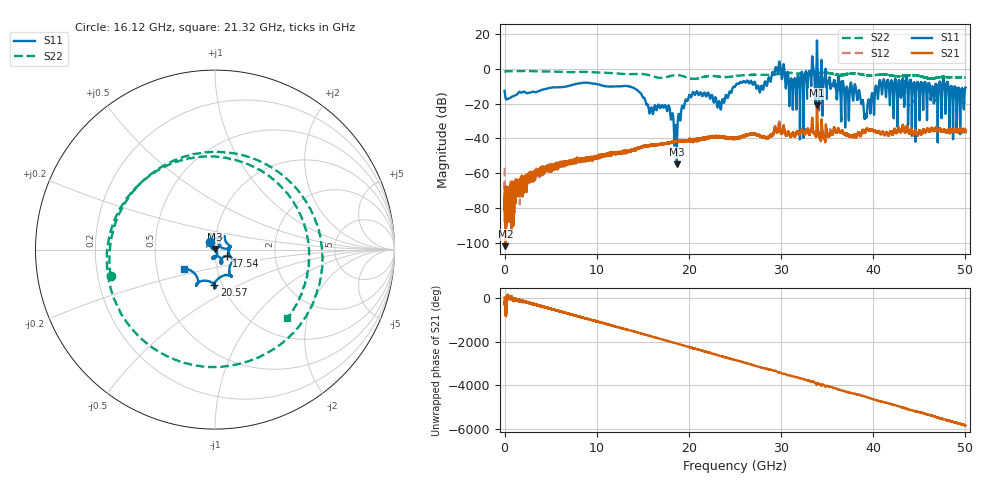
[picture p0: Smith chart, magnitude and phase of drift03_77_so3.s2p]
!Created with skrf (http://scikit-rf.org).
# Hz S RI R 50.0
!freq ReS11 ImS11 ReS21 ImS21 ReS12 ImS12 ReS22 ImS22
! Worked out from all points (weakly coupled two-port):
!   10001 points, 300 kHz to 50 GHz, reference 50 ohm
!   highest |S21| = -20.88 dB at 33.9 GHz (marker M1); lowest = -101.7 dB at 80.3 MHz (marker M2)
!   lowest |S11| = -54.9 dB at 18.7 GHz (marker M3), VSWR 1.00, Z = 50 + j0.175 ohm
!   |S11| at or under -10 dB: start of sweep to 6.942 GHz; 13.31 GHz to 25.05 GHz (11.74 GHz wide, 61.2 % of centre); 38.07 GHz to 40.26 GHz (2.186 GHz wide, 5.58 % of centre) (the widest 3 of 55)
!   |S22| runs from -5.9 to -1.3 dB; largest |S21 - S12| = 0.0079
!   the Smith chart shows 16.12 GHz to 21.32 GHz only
!   S11 on the Smith chart (normalised r, x): 16.12 GHz: 0.94, +0.08; 17.54 GHz: 1.14, -0.08; 20.57 GHz: 0.92, -0.37; 21.32 GHz: 0.69, -0.16
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300000  -0.2093 -0.1005  0.000104 4.3e-05  0.000279 0.00142  -0.7604 -0.1994
8.029952e7  -0.1415 0.0614  -3.08e-06 -7.66e-06  -0.00017 0.000105  -0.8305 0.114
1.535291e9  0.2045 0.0434  -0.000351 -0.000459  -1.27e-05 -0.000462  0.8487 0.0776
3.160281e9  -0.2185 -0.00858  0.000134 0.000853  9.31e-05 0.000848  -0.8444 -0.0252
4.665272e9  0.2635 0.0614  -0.000156 -0.00134  -0.000223 -0.00139  0.8194 0.1433
6.360262e9  -0.2999 0.000242  0.000749 0.00169  0.000523 0.00147  -0.804 -0.044
8.33525e9  0.2841 -0.2678  -0.00236 -0.000853  -0.00231 -0.000919  0.6028 -0.5348
9.575243e9  -0.3717 -0.0485  0.00145 0.00253  0.00115 0.00238  -0.7861 -0.0972
1.124523e10  0.3056 0.0233  -0.00238 -0.0026  -0.00218 -0.00263  0.7568 0.021
1.61202e10  -0.03 0.0423  0.00626 0.00194  0.00597 0.00221  -0.5805 -0.1477
1.66702e10  0.0541 0.0752  0.00426 -0.00491  0.00439 -0.00493  -0.3623 0.4161
1.753519e10  0.065 -0.0354  -0.00616 -0.00388  -0.00601 -0.00398  0.4966 0.283
1.869519e10  0.000442 0.00175  0.00235 0.00806  0.00243 0.00792  -0.0884 -0.6483
2.057018e10  -0.00407 -0.1945  -0.00821 -0.00463  -0.00807 -0.00462  0.3687 0.3508
2.131517e10  -0.1716 -0.1084  -0.00543 0.00858  -0.00492 0.00796  0.4012 -0.3807
2.500015e10  -0.297 -0.0492  0.00754 0.00684  0.00752 0.00677  -0.182 -0.5819
3.051512e10  0.2408 -0.1275  -0.00209 0.0128  -0.00221 0.0124  0.7439 -0.0652
3.213011e10  0.1991 0.374  -0.000332 -0.0148  -0.000305 -0.0151  -0.7019 0.00326
3.33351e10  0.4927 -1.013  -0.00583 0.0255  -0.00614 0.0238  0.6135 0.3678
3.38951e10  -0.4833 -6.4  0.0894 0.0133  0.0831 0.00842  0.6802 -0.3199
4.167005e10  -0.2244 0.2823  -0.0118 -0.00458  -0.0116 -0.00505  -0.6508 -0.0595
5e10  -0.1405 -0.253  0.00119 -0.0148  0.00129 -0.0153  0.471 -0.3115
